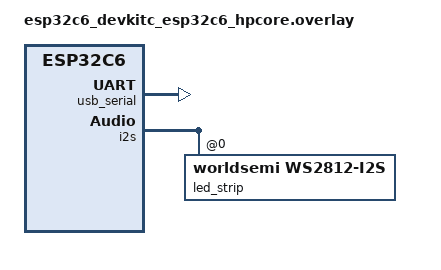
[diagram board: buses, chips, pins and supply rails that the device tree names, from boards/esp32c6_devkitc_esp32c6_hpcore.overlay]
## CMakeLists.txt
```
# SPDX-License-Identifier: Apache-2.0

cmake_minimum_required(VERSION 3.20.0)

list(APPEND EXTRA_ZEPHYR_MODULES ${CMAKE_CURRENT_SOURCE_DIR}/../common)

find_package(Zephyr REQUIRED HINTS $ENV{ZEPHYR_BASE})
project(tier_10_integrated_defense)

test_sysbuild()

# The trust anchor is compiled into the image, the same way the Wi-Fi
# credentials are. ./course build firmware writes course_ca_der.inc from the
# Course certificate authority in .course-secrets/, and passes the directory
# here.
#
# Without it the build falls back to anchor/, which holds an empty anchor. The
# repository then still builds standalone, and the resulting image refuses to
# connect and says why. An image that trusts nothing is the right failure: the
# alternative is an image that trusts anything.
# The directory arrives in the environment rather than as a CMake cache
# variable. Sysbuild keeps an image-scoped -D<image>_VAR in its own cache and
# does not forward an arbitrary one into the image build, so a cache variable
# silently produced an image with no anchor. The environment reaches every
# image's configure step.
if(DEFINED ENV{COURSE_CA_INC_DIR})
	zephyr_include_directories($ENV{COURSE_CA_INC_DIR})
else()
	zephyr_include_directories(anchor)
endif()

# The release manifest verification key arrives the same way, from
# ./course build firmware, which writes release_pubkey.inc from the public half
# of the Learner's Release signing key. It has its own variable because it is
# its own decision: the certificate authority says which service to talk to,
# and this key says whose release metadata to believe. Nothing about one
# implies the other.
#
# Without it the build falls back to anchor/, which holds no key, and the
# resulting image verifies no manifest and says so at boot and at every
# refusal. That is the same honest failure the empty trust anchor produces.
if(DEFINED ENV{COURSE_RELEASE_KEY_INC_DIR})
	zephyr_include_directories($ENV{COURSE_RELEASE_KEY_INC_DIR})
else()
	zephyr_include_directories(anchor)
endif()

target_sources(app PRIVATE
	src/health_gate.c
	src/identity.c
	src/main.c
	src/opaque_tls.c
	src/ota_client.c
	src/recovery_state.c
	src/release_policy.c
	src/renewal.c
	src/time_floor.c
)

target_sources_ifdef(CONFIG_COURSE_SUPPORT_LISTENER app PRIVATE
	src/support_listener.c
)

target_sources_ifdef(CONFIG_COURSE_CLAIM app PRIVATE
	src/claim.c
)

target_sources_ifdef(CONFIG_COURSE_PROVISIONING_SHELL app PRIVATE
	src/provisioning_shell.c
)
```

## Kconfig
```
# Configuration Tier 5 adds on top of the shared options in firmware/common.
#
# The first block is inherited from Tier 2, which taught the device to verify
# the service it talks to. Tier 4 keeps every word of it: the manifest is
# fetched over that same verified connection, and a signed manifest does not
# make an unverified connection acceptable.

menu "Tier 2 authenticated service"

config COURSE_OTA_SERVICE_NAME
	string "Name the service certificate must carry"
	default "ota.course.example"
	help
	  The device connects to CONFIG_COURSE_OTA_HOST, a literal address, and
	  then requires the certificate presented there to carry this name.

	  The name is never resolved. There is no DNS resolver in this image.
	  It is the value the TLS layer compares the certificate against, which
	  is why a wrong name is refused even though the address was right.

config COURSE_OTA_TLS_PORT
	int "OTA service TLS port"
	default 8443
	help
	  Tier 2 moves release records, firmware bytes, and status events to
	  this port. Health and the Course environment marker stay on the plain
	  HTTP port, because a safety check must not depend on the control it
	  is used to test.

config COURSE_TRUST_ANCHOR_FINGERPRINT
	string "Fingerprint of the trust anchor compiled into this image"
	default "unknown"
	help
	  Printed at boot so a stale trust anchor diagnoses itself instead of
	  looking like a broken network. ./course build firmware writes this
	  value, and ./course service certificate prints the same one.

	  The device does not compute it. Computing a digest on the board to
	  describe material the board already holds would prove nothing that the
	  build cannot state.

endmenu

menu "Tier 4 release policy"

config COURSE_SECURITY_COUNTER
	int "Security counter of the running image"
	default 1
	help
	  The anti-rollback counter this image was signed with. The same value
	  goes into the signed MCUboot image TLV and into the signed Release
	  manifest, and ./course build firmware writes it from the one constant
	  in internal/courseapp/tier04.go so the two cannot disagree.

	  The application refuses a manifest whose counter is lower than this
	  one. Equal is allowed; lower never is. That check saves a wasted
	  download and is not the boundary: the bootloader is what actually
	  stops a downgrade, by comparing the candidate's counter against the
	  counter in the image already in the primary slot.

	  It is deliberately not derived from the human-readable version.
	  "Human-readable versions override the security counter" is the
	  failure this tier is about.

config COURSE_HARDWARE_REVISION
	int "Product hardware revision this build asserts"
	default 1
	help
	  The product hardware revision a release is targeted at, compared
	  against the manifest's signed hardware_revision_min..max range.

	  It is asserted, not read. The chip reports its silicon stepping from
	  eFuse and the boot banner prints that beside this value, but nothing
	  on this part reports which product a board was built into. Product
	  identity is asserted and protected; a value the device reads is not a
	  claim anybody signed.

config COURSE_RELEASE_CHANNEL
	string "Release channel this device follows"
	default "stable"
	help
	  One of stable or candidate. The device refuses a manifest published
	  to any other channel, even a correctly signed one.

	  This is the check that has no attacker behind it. Nobody without the
	  Release signing key can produce a manifest that gets this far, so a
	  channel mismatch means whoever holds the key published something for
	  the wrong devices. The device cannot tell that from a leaked key, and
	  refusing is the same either way.

endmenu

menu "Tier 5 recoverable install"

choice COURSE_TRIAL_BEHAVIOUR
	prompt "How this image behaves during its trial boot"
	default COURSE_TRIAL_HEALTHY
	help
	  Tier 5 published five images from this one source tree, differing only
	  in what happens between the trial boot and the confirmation. Tier 10
	  keeps only the healthy behaviour: it is the integration tier, and the
	  one release that fails its trial here (the candidate) does so because
	  of the teammate's handover change, not a built-in fault arm. A failure
	  the source deliberately switches on would print that it was deliberate,
	  which is exactly what the Learner must not be told while diagnosing.

config COURSE_TRIAL_HEALTHY
	bool "Healthy: pass every check and confirm"
	help
	  The release that works. It passes the four health checks, survives the
	  60 second window, and calls boot_write_img_confirmed().

endchoice

config COURSE_TRIAL_BEHAVIOUR_NAME
	string
	default "healthy" if COURSE_TRIAL_HEALTHY
	help
	  The name this image prints for its own trial behaviour. Not settable:
	  it follows the choice above so the two cannot disagree.

config COURSE_HEALTH_GATE_SECONDS
	int "Length of the local health window"
	default 60
	help
	  Section 6 fixes this at 60 seconds. It is measured from the end of the
	  boot-time checks rather than from boot, so a slow boot cannot eat the
	  window and make the gate's length depend on something it is not
	  measuring.

config COURSE_TRIAL_FAILURE_LIMIT
	int "How many trials of one release before it is refused"
	default 3
	help
	  Bounds the revert loop. A release that installs cleanly and then fails
	  its trial would otherwise be offered, installed, fail and revert
	  forever, because nothing about it is invalid.

	  The count is incremented when a trial begins, never when one fails. A
	  crashing image never reaches code that could record a failure, and a
	  hung one is reset from interrupt context where an NVS write is not
	  safe, so a count kept on failure would miss exactly the two failures
	  that most need counting.

	  This is persistent state about a release, and it is not the
	  application-managed accepted-image database section 6 forbids. That
	  prohibition exists so a failed trial can always revert to the
	  previously confirmed image. This count never blocks a revert; it only
	  stops the device re-attempting a release it has already proven bad.

config COURSE_SOURCE_REVISION
	string "Source revision this image was built from"
	default "unknown"
	help
	  The git hash of the tree this image was built from, with -dirty
	  appended when the tree was dirty, exactly as git describe --dirty
	  reports it.

	  It also travels in a protected MCUboot TLV at tag 0x00A0, so it is
	  covered by the image signature and cannot be rewritten without
	  invalidating the image. This Kconfig value is what the build put in
	  that TLV.

	  It identifies the build and not the release. A Learner's own build
	  carries their hash and will usually be dirty, and will not match a
	  published one. The course claims no reproducible builds, and this
	  value is not evidence of any.

	  What it answers is "what am I running" after a revert, when the
	  Release manifest that described the image was consumed long ago and
	  the device no longer holds it.

endmenu

menu "Tier 6 factory identity, carried into Tier 7"

config COURSE_IDENTITY_FACTORY
	bool "Factory: a key generated on this device"
	default y
	help
	  Tier 7 builds one image, and the factory identity is not a choice in
	  it.

	  Tier 6 published two images from one source tree, because where the
	  device's identity comes from was that tier's whole subject. Tier 7's
	  subject is what an identity authorizes, and it takes the per-device
	  Factory identity as given. The comparison is Tier 6's and Tier 6
	  still publishes both halves of it.

	  Be precise about why the shared image is not carried forward. It is
	  not that it cannot prove anything. Its certificate is a real Factory
	  certificate signed by the manufacturer device CA, so it proves
	  possession of its key exactly as well as a per-device one does, and
	  it would pass the identity-factory check at the claim endpoint. What
	  it cannot prove is which device it is. Every shared image carries the
	  same subject, and a claim binds an owner to a device rather than to a
	  fleet.

	  Follow that through and the shared image fails in a way worth
	  knowing. Ownership is first come, so the first shared board to
	  complete a claim takes the identifier, and every other board flashed
	  from the same image is refused at device-unowned from then on. No
	  attacker appears anywhere in that story. That is the strongest
	  argument for per-device identity, and it is why this symbol is not a
	  choice.

	  The symbol keeps its prompt and its name so the generated Tier 6
	  fragment still configures this tree, and so the two tiers are
	  readable side by side. Turning it off builds an image with no
	  identity subsystem at all, which is not a Tier 7 variant, it is a
	  broken configuration.

config COURSE_IDENTITY_NAME
	string
	default "factory"
	help
	  The name this image prints for its own identity model.

config COURSE_PROVISIONING_SHELL
	bool "Offer the provisioning shell while unprovisioned"
	default y
	depends on COURSE_IDENTITY_FACTORY
	help
	  The enrollment interface. It is a Zephyr shell rather than a private
	  protocol on purpose: a hidden framing is obscurity and not security,
	  and both are exposed on exactly the same terms once the gating below
	  is in place.

	  What makes it defensible is that it is reduced and closed. SHELL_MINIMAL
	  turns off the kernel module, the built-in commands, history, tab
	  completion and VT100 handling, all of which are gated on the same
	  condition, so an attacker finding this shell finds two provisioning
	  commands and nothing else. SHELL_AUTOSTART is off, so the application
	  decides when it runs, and it stops it the moment enrollment succeeds.

	  A Learner can check both halves: type a command after enrolling and
	  watch nothing happen.

config COURSE_PROVISIONING_BUTTON_REOPENS
	bool "Let the BOOT button reopen provisioning on an enrolled device"
	default y
	depends on COURSE_PROVISIONING_SHELL
	help
	  Without this the interface closes permanently on enrollment, and there
	  is then no way to send the erase command that remanufacturing needs.
	  Reflashing does not help: Secure Storage lives in the storage
	  partition and survives a slot 0 flash, exactly the way MCUboot's
	  trailer does.

	  The cost is a weakness worth naming rather than hiding: anyone with
	  physical access and this button can put the device back into
	  provisioning mode. That is a deliberate trade for recoverability, and
	  Advanced Tier A is where the debug and download paths around it are
	  closed.

config COURSE_PROVISIONING_BUTTON_HOLD_SECONDS
	int "Seconds the BOOT button must be held to reopen provisioning"
	default 10
	range 2 60
	depends on COURSE_PROVISIONING_BUTTON_REOPENS
	help
	  The button is read while the application runs, not at reset.

	  Reading it at reset cannot work on this part: sw0 is GPIO9, the
	  ESP32-C6 strapping pin, so holding it through the reset edge straps
	  the chip into the ROM download loader and the application never runs
	  at all. The only window was therefore after the reset and before the
	  gate, which is a fraction of a second, and hitting it reliably was not
	  something a Learner should have to practise.

	  So the button is armed with an interrupt instead, and a deliberate
	  long press reopens the interface in place, with no reset and no
	  re-enumeration of the USB device. A sustained hold is also harder to
	  trigger by accident than a press during boot.

endmenu

menu "Tier 7 operational identity"

config COURSE_CLAIM
	bool "Build the Claim window"
	default y
	depends on COURSE_IDENTITY_FACTORY && COURSE_PROVISIONING_BUTTON_REOPENS
	help
	  The timed half of Tier 7: a nonce, a ten-minute window, a bounded
	  submit and a poll, in src/claim.c.

	  It depends on the button rather than merely on the factory identity,
	  and that dependency is the decision #135 made rather than an accident
	  of wiring. The Claim window is opened by a documented physical action
	  and by nothing else. An image with the button disabled has no way to
	  open one, and building the window into it would leave a claim path
	  with no way to authorize it.

config COURSE_CLAIM_WINDOW_SECONDS
	int "Seconds a Claim window stays open on this device"
	default 600
	range 60 3600
	depends on COURSE_CLAIM
	help
	  The device times this itself with a k_timer and closes its own window
	  by destroying the nonce and the pending Operational key.

	  This is not the service's ten minutes and it is not meant to be. The
	  service starts counting when the request reaches it, some seconds
	  later, and the service alone decides that a claim has expired. The
	  device's timer only ever closes the device's own window: it never
	  reports a time and it is never an authorization input, which is what
	  keeps device time evidence rather than permission.

	  CONFIG_MBEDTLS_HAVE_TIME_DATE=n costs this board wall-clock judgement,
	  not duration judgement. It cannot tell you whether a certificate has
	  expired. It can perfectly well count ten minutes.

config COURSE_CLAIM_SUBMIT_ATTEMPTS
	int "Attempts at submitting the device half before the window closes"
	default 4
	range 1 10
	depends on COURSE_CLAIM
	help
	  Submitting is a thing that either lands or does not, so it is bounded.
	  Four attempts on the cadence 0, 2, 4 and 8 seconds: the delay belongs
	  to the attempt it precedes, so the first goes out at once and the three
	  after it wait two, four and eight seconds. After the fourth failure the
	  device closes its own window and says the button must be pressed again.

	  The two halves of the claim share that one cadence. The *operator*
	  half's budget lives at the service, it is four attempts on the same 0,
	  2, 4 and 8 seconds, and the sequence is what fixes the count in both
	  places, so #134's five is superseded. A Learner reads one cadence in
	  two files rather than two cadences that happen to both be bounded.

	  This budget is still not shared with the retrieval poll below, because
	  the two bound different things: this bounds a submission, and the poll
	  is the waiting state.

config COURSE_CLAIM_POLL_SECONDS
	int "Seconds between retrieval polls while a window is open"
	default 5
	range 1 60
	depends on COURSE_CLAIM
	help
	  How the device learns its certificate was issued. A fresh connection
	  each time, closed after, bounded only by the window timer.

	  A fresh connection rather than one held open for ten minutes: it keeps
	  #158's one-connection-at-a-time decision intact with no connection
	  lifetime state to carry, and it makes the poll the same run_request()
	  as every other Tier 7 exchange rather than the tier's only long-lived
	  socket with its own idle-timeout handling.

endmenu

menu "Tier 8 credential lifecycle"

config COURSE_TIME_FLOOR_SEED
	string "Build time this image seeds its Time floor with"
	default "2026-09-01T00:00:00Z"
	help
	  RFC 3339 in UTC, exactly as ./course build firmware writes it: the
	  moment the image was built. It is compiled into the image and so
	  covered by the image signature, which is what makes it evidence.

	  The Time floor starts here and rises to the created_at of every
	  Release manifest whose signature verifies. It never falls, except to
	  someone who can rewrite the flash, and it judges only this device's
	  own Operational certificate. It is not a clock: see time_floor.h.

	  The default is only for a standalone build of this tree, and it is
	  deliberately not in the future: a floor ahead of real time would
	  refuse every certificate issued before it and could never come back.

config COURSE_RENEWAL_ATTEMPTS
	int "Renewal attempts on one poll that says renew"
	default 4
	range 1 10
	help
	  #148's cadence, the claim's: 0, 2, 4 and 8 seconds, the delay
	  belonging to the attempt it precedes. After the last one the device
	  keeps its current identity and waits for a later poll that still
	  says renew. The poll interval is the outer backoff, and there is no
	  third cadence (#212).

endmenu

menu "Support listener and vulnerability backport"

config COURSE_SUPPORT_LISTENER
	bool "Answer fleet inventory and reboot requests on the local network"
	select NET_UDP
	help
	  The planted flaw first introduced in Tier 9 (#269), T9-W-34. It is a UDP
	  listener that answers an inventory query with the device id, release and
	  security counter, and accepts a reboot request. Neither needs any
	  authentication, and anything on the same network can send both.

	  Tier 10's corrected tree leaves it compiled out, exactly as Tier 9's
	  remediation release did. The teammate's handover patch (T10-W-38) turns
	  it back on for the candidate build and, worse, starts it before the
	  health gate, so it is live during a failed trial. That regression is the
	  subject of this tier, not a control it adds.

config COURSE_SUPPORT_LISTENER_PORT
	int "UDP port the support listener binds"
	default 7700
	depends on COURSE_SUPPORT_LISTENER

config COURSE_TF_PSA_CRYPTO_BACKPORT
	bool "This build carries the TF-PSA-Crypto fix for CVE-2026-50583"
	help
	  Set for both Tier 10 variants, which each carry Tier 9's fix. ./course
	  build firmware applies the West patch to the tf-psa-crypto module at the
	  same moment (#275, #278, #290). The patch changes the module, not this
	  application, so this symbol exists only so the image can say at boot that
	  it carries the fix. It proves nothing by itself: the SBOM and the build
	  manifest are the evidence.

endmenu

source "Kconfig.zephyr"

config COURSE_SIGNING_KEY_FINGERPRINT
	string "Fingerprint of the image verification key this image was built beside"
	default "unknown"
	help
	  Printed at boot so a Learner can see which key the build trusted, and
	  so a key regenerated after flashing diagnoses itself instead of looking
	  like a broken image.

	  Read the wording in main.c before changing this. The application cannot
	  see what the bootloader actually holds. This value comes from the same
	  build that produced the bootloader, so it is a claim about the build and
	  not an observation of the device. Verifying the bootloader itself is
	  Advanced Tier A's subject.

	  From Tier 4 the same fingerprint also describes the release manifest
	  verification key compiled into the application, because section 7 fixes
	  that one key signs both. Unlike the bootloader's copy, that one this
	  application does hold, and release_policy.c reports when it is absent.
```

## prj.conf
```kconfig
CONFIG_PRINTK=y
CONFIG_ESPTOOLPY_FLASHSIZE_4MB=y
CONFIG_MAIN_STACK_SIZE=8192
CONFIG_REBOOT=y

# Wi-Fi station and IPv4. Tier 2 speaks HTTPS to one literal address and checks
# the certificate against a name, so it still needs no name resolution. The
# name is compared, never looked up, and there is no resolver in this image.
#
# Tier 4 fetches two more objects over that same connection, the Release
# manifest and its detached signature. Verifying the manifest does not make an
# unverified connection acceptable, so nothing here is relaxed.
CONFIG_NETWORKING=y
CONFIG_WIFI=y
CONFIG_NET_IPV4=y
CONFIG_NET_IPV6=n
CONFIG_NET_DHCPV4=y
CONFIG_NET_TCP=y
CONFIG_NET_SOCKETS=y
CONFIG_NET_MGMT=y
CONFIG_NET_MGMT_EVENT=y
CONFIG_NET_MGMT_EVENT_INFO=y
CONFIG_NET_MGMT_EVENT_STACK_SIZE=4096
CONFIG_ESP32_WIFI_STA_AUTO_DHCPV4=y

CONFIG_NET_PKT_RX_COUNT=16
CONFIG_NET_PKT_TX_COUNT=16
CONFIG_NET_BUF_RX_COUNT=32
CONFIG_NET_BUF_TX_COUNT=32
CONFIG_NET_MAX_CONTEXTS=8

CONFIG_HTTP_CLIENT=y
CONFIG_JSON_LIBRARY=y

# TLS for the update and status connection.
#
# CONFIG_MBEDTLS is already on in Tier 0, because the Wi-Fi driver needs it.
# Tier 2 adds the socket layer, the credential store, and one ciphersuite.
# From Tier 7 these two are kept for what they select rather than for what they
# do. Nothing in this image calls setsockopt(SOL_TLS, ...) or
# tls_credential_add() any more: #138 established that Zephyr's socket TLS
# layer cannot carry a PSA key identifier as a client private key, and src/
# opaque_tls.c replaces it. But NET_SOCKETS_SOCKOPT_TLS is what "select
# PSA_CRYPTO" hangs off, and the mbedTLS configuration below is reached through
# it. Turning them off is a larger change than it looks and buys a few hundred
# bytes.
CONFIG_NET_SOCKETS_SOCKOPT_TLS=y
CONFIG_TLS_CREDENTIALS=y
CONFIG_MBEDTLS_CIPHERSUITE_TLS_ECDHE_ECDSA_WITH_AES_128_GCM_SHA256=y
CONFIG_MBEDTLS_ENABLE_HEAP=y
CONFIG_MBEDTLS_HEAP_SIZE=49152
# A TLS record can be 16 KiB, and the peer decides how big it makes one.
#
# This was 2048 while Tier 3 was being built, because every response Tier 2
# had ever fetched over TLS was a small JSON record that fitted. Tier 3 is the
# first tier to download a firmware image over the verified connection, and the
# Go service sends that in full sized records. The client cannot hold one,
# mbedTLS treats it as fatal, and the socket layer returns -ECONNABORTED before
# a single byte reaches the flash writer.
#
# The symptom is misleading: "ota.request failed err=-113" after a handshake
# the same log line says succeeded. Nothing in the failure mentions buffers.
#
# Tier 2 now sets 16384 for the same reason. See issue #62.
CONFIG_MBEDTLS_SSL_MAX_CONTENT_LEN=16384
CONFIG_NET_SOCKETS_TLS_MAX_CONTEXTS=2

# The trust anchor is compiled in as DER, so the PEM parser is not needed.
#
# Tier 4 adds a second compiled-in key, the release manifest verification key,
# and it stays off for that too. The build strips it to a bare 65-byte EC point
# that PSA imports directly. Measured on issue #65: turning PEM parsing back on
# costs 1696 bytes of .text and 228 of .flash.rodata to do at run time what the
# build does for free, and puts a text parser on the path to a trust decision.
CONFIG_MBEDTLS_PEM_PARSE_C=n

# Verifying the Release manifest needs no new Kconfig symbol at all.
#
# psa_hash_compute, mbedtls_ecdsa_der_to_raw, psa_import_key and
# psa_verify_hash are already linked into the untouched Tier 3 image, pulled in
# by two lines nobody set for this purpose: the ciphersuite above selects
# PSA_WANT_ALG_ECDSA, PSA_WANT_ALG_SHA_256 and the ECC key types and implies
# PSA_WANT_ECC_SECP_R1_256, and CONFIG_NET_SOCKETS_SOCKOPT_TLS does
# "select PSA_CRYPTO". psa_crypto_init() is already called from Zephyr's own
# SYS_INIT.
#
# The two lines below are assertions, not requests. They are already y, they
# change no bytes, and they are here so that a future change to the ciphersuite
# fails the build rather than quietly removing a verifier. release_policy.c
# carries the same statement as compile-time #error probes, because a symbol
# being set is not the same as a driver being present.
#
# Do not reach for CONFIG_MBEDTLS_ECDSA_C, CONFIG_MBEDTLS_ECP_C or
# CONFIG_MBEDTLS_ECP_DP_SECP256R1_ENABLED. This tree is Mbed TLS 4.1.0 with the
# separate tf-psa-crypto module and those symbols do not exist here; curves and
# algorithms are selected only through PSA_WANT_*.
CONFIG_PSA_WANT_ALG_ECDSA=y
CONFIG_PSA_WANT_ECC_SECP_R1_256=y

# Certificate validity dates are deliberately not checked.
#
# This board has no real-time clock. With CONFIG_MBEDTLS_HAVE_TIME_DATE=y and
# no time source the clock reads 1970, every certificate is "not yet valid",
# and every handshake fails forever. The option is orthogonal to chain and name
# checking, so leaving it off costs neither of those.
#
# The consequence is real and belongs in the Weakness ledger: this device would
# accept an expired certificate. Tier 8 is where credential lifetime becomes
# the subject.
CONFIG_MBEDTLS_HAVE_TIME_DATE=n

# Reading the verification flags after a refusal, so the device can say which
# check failed instead of only that something did.
CONFIG_MBEDTLS_X509_CRT_PARSE_C=y

# Writing the downloaded image into the secondary slot and asking MCUboot to
# swap it in. Tier 0 deliberately added no check here at all; Tier 4 decides
# whether to write before the transfer starts, and whether to request the swap
# after the bytes have been hashed.
CONFIG_FLASH=y
CONFIG_FLASH_MAP=y
CONFIG_STREAM_FLASH=y
CONFIG_IMG_MANAGER=y
CONFIG_IMG_ERASE_PROGRESSIVELY=y
CONFIG_MCUBOOT_IMG_MANAGER=y

# The course network may publish the same name on 2.4 GHz and 5 GHz. Scanning
# every channel makes the board pick the 2.4 GHz radio it can actually use.
CONFIG_ESP32_WIFI_STA_SCAN_ALL=y
CONFIG_ESP32_WIFI_STA_RECONNECT=y

# Tier 5: the storage partition's first use in this course.
#
# The 192 KiB storage partition at 0x3b0000 has been in the pinned flash map
# since Tier 0 and no tier has ever written to it. Tier 5 needs somewhere for
# the download progress record and the trial failure count to survive a power
# cut, and this is what that partition is for.
#
# NVS directly rather than the settings subsystem. Settings is built on NVS
# here, so it is a layer of ergonomics over a record with four fields, and in
# the one tier whose subject is what survives a power cut a Learner is better
# served by seeing the write that matters.
CONFIG_NVS=y

# Tier 5: the watchdog that resets a trial image which hangs before it can
# report failure.
#
# Nothing in firmware/ has ever set this, and the esp32 driver actively
# disables the hardware during its own init, so the watchdog is off until an
# application turns it on and calls wdt_setup(). An image that hangs on a board
# with no watchdog running looks exactly like a control working.
#
# Read the COURSE_TRIAL_HANG help text before assuming this catches every hang.
# It does not, and what it misses is in the Tier 5 ledger.
CONFIG_WATCHDOG=y

# Reading back the image from the secondary slot to hash it.
#
# Tier 4 hashed the bytes as they streamed past, which a resumable download
# cannot do: after a power cut the hash state is gone, and persisting SHA-256
# midstate would be a great deal of unpleasantness for no gain. Tier 5 hashes
# the slot once the transfer completes instead.
#
# That is strictly the better check. Tier 4's comment says the digest protects
# the upgrade request, and hashing the slot makes that true of what is actually
# in the flash rather than of what the device believes it wrote.
CONFIG_FLASH_PAGE_LAYOUT=y

# Tier 6: a device identity key generated on the board.
#
# PSA_WANT_ALG_ECDSA and PSA_WANT_ECC_SECP_R1_256 are already on above, from
# Tier 4's manifest verification. Generating a key rather than only verifying
# with one needs the keypair types as well.
CONFIG_PSA_WANT_KEY_TYPE_ECC_KEY_PAIR_GENERATE=y
CONFIG_PSA_WANT_KEY_TYPE_ECC_KEY_PAIR_EXPORT=y
CONFIG_PSA_WANT_ALG_SHA_256=y

# PSA_WANT_KEY_TYPE_ECC_PUBLIC_KEY is not optional and it fails silently.
#
# MBEDTLS_PK_MAX_PUBKEY_RAW_LEN is defined as 0 without it (pk.h:91) and that
# constant sizes a buffer in every PK context, so the failure is a zero length
# public key rather than a build error. It is currently on in some builds only
# as a side effect of the Wi-Fi driver's WPA3 option, which is not something to
# depend on. Measured on issue #108.
CONFIG_PSA_WANT_KEY_TYPE_ECC_PUBLIC_KEY=y

# Writing a certification request. MBEDTLS_X509_CSR_WRITE_C selects nothing at
# all, and the CSR writer calls mbedtls_pk_write_pubkey_der(), which is
# compiled out without MBEDTLS_PK_WRITE_C. Both are named here rather than one
# being assumed to imply the other.
#
# MBEDTLS_PEM_WRITE_C is deliberately absent. The request goes over the wire as
# DER. Turning PEM writing on would partly reverse the size decision Tier 5
# made and explained when it set CONFIG_MBEDTLS_PEM_PARSE_C=n.
CONFIG_MBEDTLS_PK_WRITE_C=y
CONFIG_MBEDTLS_X509_CSR_WRITE_C=y
CONFIG_MBEDTLS_X509_USE_C=y

# Storing the private key, in the exact configuration section 8 fixes.
#
# Read the limitation with it. The AEAD key is SHA-256 over a device identifier
# and the entry uid, and on this part that identifier is six bytes of the
# factory MAC: a value the device broadcasts in every Wi-Fi frame and which
# esptool read-mac prints over the same cable used to dump the flash. This
# encrypts the key at rest against casual inspection and detects unauthenticated
# changes. It is not a protected root secret, it does not prevent record replay,
# and it does not protect the key from privileged firmware, a debugger, or a
# capable flash attacker.
#
# Zephyr says so itself at boot, and the course leaves that warning switched on:
#   WARNING: Using a potentially insecure PSA ITS encryption key provider.
CONFIG_SECURE_STORAGE=y
CONFIG_SECURE_STORAGE_ITS_TRANSFORM_IMPLEMENTATION_AEAD=y
CONFIG_SECURE_STORAGE_ITS_TRANSFORM_AEAD_SCHEME_AES_GCM=y
CONFIG_SECURE_STORAGE_ITS_TRANSFORM_AEAD_KEY_PROVIDER_DEVICE_ID_HASH=y
CONFIG_SECURE_STORAGE_ITS_STORE_IMPLEMENTATION_SETTINGS=y

# The device identifier the key provider hashes comes from hwinfo.
CONFIG_HWINFO=y

# Settings, which the ITS store writes through, and which brings its own NVS
# instance on the storage partition.
#
# Tier 5 mounted its own nvs_fs at the first byte of that same partition and
# explained at length why it chose NVS over settings. Both land on the same
# bytes and nothing detects it: nvs_mount() checks write block size, sector
# size and a count of at least two, and nothing else, so both mounts return 0
# and the damage does not wait for a write.
#
# Tier 6 keeps Tier 5's raw records and its reasoning, and stops mounting a
# second instance. recovery_state.c now writes through the instance settings
# already owns, reached with settings_storage_get(). The entry id spaces do not
# overlap: settings uses 0x8000 and above, Tier 5 uses 1, 2 and 3. Measured on
# issue #109, decided on issue #120.
CONFIG_SETTINGS=y
CONFIG_SETTINGS_NVS=y

# The provisioning interface.
#
# SHELL_MINIMAL is the load-bearing line. Without it KERNEL_SHELL is default y
# and implies INIT_STACKS, THREAD_MONITOR, THREAD_NAME and THREAD_STACK_INFO,
# so a plain CONFIG_SHELL=y would hand anyone with the cable thread
# introspection and a reboot command. Every one of those, and the built-in
# commands, history, tab completion and VT100 handling, is gated on the same
# !SHELL_MINIMAL condition, so one symbol turns the lot off and anything
# upstream adds the same way stays off too.
#
# SHELL_AUTOSTART is off so the application chooses when the shell runs.
# shell_init() still runs at boot from the backend; AUTOSTART only decides
# whether it calls shell_start() for you (shell.c:1369).
CONFIG_SHELL=y
CONFIG_SHELL_MINIMAL=y
CONFIG_SHELL_AUTOSTART=n
CONFIG_SHELL_BACKEND_SERIAL=y

# The provisioning shell's own thread, and the buffers around it.
#
# Every one of these three was found on the board, and each produced a failure
# that looked like something else.
#
# SHELL_STACK_SIZE defaults to 2048. Enrollment runs the entire certification
# request on this thread: loading the persistent PSA key out of Secure Storage
# decrypts an AES-GCM record through settings and NVS, and the CSR writer then
# encodes and signs. That overran 2 KiB and the symptom was an illegal
# instruction at an address in SRAM with a call trace pointing into gcm_mask,
# which reads like a fault inside the crypto library rather than like a stack
# that ran out. It is neither: it is a return address overwritten by the frame
# below it.
CONFIG_SHELL_STACK_SIZE=8192

# A stack that runs out should say so instead of jumping to whatever the data
# happened to be. The sentinel is checked on every context switch and turns the
# failure above into a named panic. It is here because the failure it names
# cost a debugging session, and because an unprovisioned board in front of a
# Learner is exactly where this path runs.
CONFIG_STACK_SENTINEL=y

# The station sends the issued certificate over this console. The command
# buffer defaults to 128 bytes, which is shorter than the certificate.
CONFIG_SHELL_CMD_BUFF_SIZE=256

# The serial backend's receive ring defaults to 64 bytes. The shell thread does
# not drain it fast enough when a host writes a long line in one go, and the
# first attempt at enrollment lost characters out of the middle of a 64
# character credential and acted on the corrupted text. Nothing reported the
# loss: a dropped character is not an error, it is simply a different command.
CONFIG_SHELL_BACKEND_SERIAL_RX_RING_BUFFER_SIZE=512

# --- Tier 7 ---------------------------------------------------------------
#
# The claim carries a certification request out and a certificate back, both
# inside a JSON body, so both travel base64. Go's encoding/json produces and
# consumes exactly this for a []byte without anybody writing an encoder.
CONFIG_BASE64=y

# psa_copy_key() moves the pending Operational key into its persistent slot.
#
# It is declared in tf-psa-crypto's psa/crypto.h and defined in its core, not
# behind a PSA_WANT_* symbol, so nothing here turns it on. This comment is here
# because #140 named it as the first thing Tier 7 had to check and the answer
# belongs beside the code rather than only in a ticket.

# The Claim window is opened from the system workqueue.
#
# The button's hold timer hands the work off there — shell_start() has no
# business running in an interrupt and neither does key generation — and that
# handler now also generates a P-256 key and writes a certification request.
# The default 1024 byte workqueue stack does not cover it. #158 measured this
# thread at 608 of 1024 before Tier 7 gave it anything to do.
#
# The key is volatile, so unlike Tier 6's enrollment path nothing here decrypts
# a Secure Storage record; the request writer is the expensive part. 4096 is
# half of what Tier 6 had to give the shell thread for the heavier job.
CONFIG_SYSTEM_WORKQUEUE_STACK_SIZE=4096

# Deliberately absent: CONFIG_INIT_STACKS, CONFIG_THREAD_MONITOR,
# CONFIG_THREAD_NAME, CONFIG_THREAD_STACK_INFO and the thread analyzer.
#
# The #158 spike turned all of them on to measure main's high water at 3224 of
# 8192. They are measurement instruments and not firmware: Tier 6 turned that
# introspection off deliberately with CONFIG_SHELL_MINIMAL, because it hands
# anyone with the cable a map of every thread. A spike image may carry them and
# a shipped one may not.

# The onboard status beacon. The DevKitC-1 shows the machine state on its
# WS2812 RGB LED as well as on the console; CONFIG_COURSE_BEACON_LED in
# firmware/common turns that off again for a board that has no such LED.
CONFIG_LED_STRIP=y

# Tier 10 carries Tier 9's remediation behaviour as its committed, corrected
# tree: the TF-PSA-Crypto backport for CVE-2026-50583 is applied by west patch
# at build time for both Tier 10 variants, so this symbol is set here rather
# than per variant. It proves nothing by itself; the SBOM and build manifest
# are the evidence. See firmware/tier-09-vulnerability-support for the origin.
CONFIG_COURSE_TF_PSA_CRYPTO_BACKPORT=y

# The support listener stays compiled out in the corrected tree, exactly as
# Tier 9's remediation release left it (T9-W-34). The teammate's handover patch
# turns it back on in the candidate build; see handover/teammate-candidate.patch.
# CONFIG_COURSE_SUPPORT_LISTENER is not set
```

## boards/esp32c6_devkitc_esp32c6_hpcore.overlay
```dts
#include "../dts/esp32c6_4m_flash_map.dtsi"
#include <zephyr/dt-bindings/led/led.h>

/*
 * The board's default console is the physical uart0 pins, which need a
 * separate USB-UART adapter to observe. Route the console over the
 * DevKitC's built-in USB-Serial/JTAG peripheral instead, so application
 * logs are visible on the same connector already used to build and flash
 * (see docs/esp32c6-build-baseline.md, "Safe hardware check").
 */
&usb_serial {
	status = "okay";
};

/ {
	chosen {
		zephyr,console = &usb_serial;
		zephyr,shell-uart = &usb_serial;
	};
};

/*
 * The onboard status LED.
 *
 * The ESP32-C6-DevKitC-1 carries one addressable RGB LED, a WS2812 on GPIO8.
 * It is not a plain on/off pin: the colour is clocked in as a serial waveform
 * whose pulse widths carry the bits, so it needs a driver and a peripheral
 * that can produce that waveform. Zephyr 4.4 has no RMT-based WS2812 driver,
 * so the waveform is produced by the I2S peripheral instead, which is the
 * arrangement Espressif themselves use for this board in Zephyr's own
 * samples/drivers/led/led_strip overlay.
 *
 * The board's default I2S pin group drives five pins for real audio. The
 * beacon needs only the serial-data output, so group1 is replaced with the
 * single pin the LED sits on. That leaves GPIO5, GPIO6, GPIO7, and GPIO23 free
 * for anything else, and GPIO6 and GPIO7 are already claimed by i2c0 on this
 * board.
 */
&i2s_default {
	group1 {
		pinmux = <I2S_O_SD_GPIO8>;
	};
};

i2s_led: &i2s {
	status = "okay";

	/* Transmit only. The SoC node offers both directions; the LED is
	 * write-only, and asking for a receive channel would reserve a second
	 * DMA channel that nothing ever reads.
	 */
	dmas = <&dma 3>;
	dma-names = "tx";

	led_strip: ws2812@0 {
		compatible = "worldsemi,ws2812-i2s";

		reg = <0>;
		chain-length = <1>;

		/* WS2812 parts take their bytes green first, then red, then
		 * blue. Getting this order wrong does not fail to build and
		 * does not fail to light; it simply shows the wrong colour,
		 * which is why the order is stated here rather than assumed.
		 */
		color-mapping = <LED_COLOR_ID_GREEN
				 LED_COLOR_ID_RED
				 LED_COLOR_ID_BLUE>;
		reset-delay = <500>;
	};
};

&dma {
	status = "okay";
};

/*
 * firmware/common drives the beacon through this alias rather than through the
 * node label, so the shared code names no board-specific pin or peripheral. A
 * board without this alias builds and runs with the beacon on the console
 * only.
 */
/ {
	aliases {
		led-strip = &led_strip;
	};
};
```

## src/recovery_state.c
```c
#include "recovery_state.h"

#include <errno.h>
#include <string.h>

/* zephyr/fs/nvs.h is deprecated in this Zephyr; the API is unchanged and only
 * the header moved.
 */
#include <zephyr/kvss/nvs.h>
#include <zephyr/kernel.h>
#include <zephyr/settings/settings.h>

/* NVS record identifiers.
 *
 * Small integers rather than strings, because this is NVS rather than the
 * settings subsystem. Settings would give string keys and a tidier API, and it
 * is built on NVS here, so it would be a layer of ergonomics over three
 * records with a handful of fields each. In the one tier whose subject is what
 * survives a power cut, a Learner is better served by seeing the write that
 * matters than by a nicer interface to it.
 */
#define RECOVERY_NVS_DOWNLOAD 1
#define RECOVERY_NVS_TRIAL 2
#define RECOVERY_NVS_FAILURE 3

/* Tier 6 changed where this lives, and nothing about what it does.
 *
 * Tier 5 mounted its own nvs_fs at the first byte of the storage partition and
 * explained at length why it used NVS directly rather than the settings
 * subsystem. That reasoning still holds and the raw writes below are unchanged.
 *
 * What changed is that Tier 6 puts a PSA Secure Storage key in the same
 * partition, and the ITS store writes through settings, whose own NVS instance
 * takes its offset from the partition's first byte and cannot be moved: there
 * is no Kconfig and no devicetree property for it. Both instances therefore
 * landed on the same bytes, and nothing detected it. nvs_mount() checks write
 * block size, sector size against page size, and a count of at least two, and
 * nothing else, so both mounts returned 0. The damage did not even wait for a
 * write, because mounting erases the sector after the write sector.
 *
 * So this file stops mounting a second instance and uses the one settings
 * already owns. The entry identifiers do not overlap: settings uses 0x8000 and
 * above, and the three records below are 1, 2 and 3.
 *
 * This is a bug Tier 6 found in Tier 5, fixed here rather than in the
 * published Tier 5, whose behaviour on its own is correct. It only surfaced
 * now because Tier 5 was the only user of this partition. Measured on issue
 * #109, decided on issue #120.
 */
static struct nvs_fs *course_nvs;
static bool mounted;

int recovery_state_init(void)
{
	void *storage = NULL;
	int err;

	if (mounted) {
		return 0;
	}

	/* settings_subsys_init() is what mounts the instance, and identity.c
	 * calls it before this runs. Calling it again is harmless and makes the
	 * dependency explicit rather than relying on main's ordering.
	 */
	err = settings_subsys_init();
	if (err != 0) {
		printk("recovery.state settings would not start err=%d\n", err);
		return err;
	}
	err = settings_storage_get(&storage);
	if (err != 0 || storage == NULL) {
		printk("recovery.state cannot reach the settings storage err=%d\n", err);
		return err != 0 ? err : -ENODEV;
	}
	course_nvs = (struct nvs_fs *)storage;

	mounted = true;
	printk("recovery.state sharing the settings NVS instance at 0x%lx, %u sectors of %u bytes\n",
	       (unsigned long)course_nvs->offset, course_nvs->sector_count,
	       course_nvs->sector_size);
	printk("recovery.state record ids 1 to 5; settings uses 0x8000 and above\n");
	printk("recovery.state Tier 6 shares this instance with PSA Secure Storage\n");
	return 0;
}

static int read_record(uint16_t id, void *out, size_t len)
{
	ssize_t got;

	if (!mounted) {
		return -ENODEV;
	}
	got = nvs_read(course_nvs, id, out, len);
	if (got == -ENOENT) {
		return -ENOENT;
	}
	if (got < 0) {
		return (int)got;
	}
	if ((size_t)got != len) {
		/* A record of the wrong length is a record written by different
		 * code. Treat it as absent rather than as data: reading a
		 * struct out of bytes that were never that struct is how a
		 * recovery mechanism becomes the thing it was meant to prevent.
		 */
		printk("recovery.state record %u is %d bytes, expected %zu; discarding it\n",
		       id, (int)got, len);
		(void)nvs_delete(course_nvs, id);
		return -ENOENT;
	}
	return 0;
}

static int write_record(uint16_t id, const void *in, size_t len)
{
	ssize_t written;

	if (!mounted) {
		return -ENODEV;
	}
	written = nvs_write(course_nvs, id, in, len);
	if (written < 0) {
		return (int)written;
	}
	return 0;
}

int recovery_record_read(uint16_t id, void *out, size_t len)
{
	return read_record(id, out, len);
}

int recovery_record_write(uint16_t id, const void *in, size_t len)
{
	return write_record(id, in, len);
}

int recovery_record_delete(uint16_t id)
{
	if (!mounted) {
		return -ENODEV;
	}
	return nvs_delete(course_nvs, id);
}

int recovery_download_read(struct download_record *record)
{
	return read_record(RECOVERY_NVS_DOWNLOAD, record, sizeof(*record));
}

int recovery_download_write(const struct download_record *record)
{
	return write_record(RECOVERY_NVS_DOWNLOAD, record, sizeof(*record));
}

int recovery_download_clear(void)
{
	if (!mounted) {
		return -ENODEV;
	}
	return nvs_delete(course_nvs, RECOVERY_NVS_DOWNLOAD);
}

int recovery_trial_read(const char *release_id, uint32_t *attempts)
{
	struct trial_record record;
	int err;

	*attempts = 0U;
	err = read_record(RECOVERY_NVS_TRIAL, &record, sizeof(record));
	if (err == -ENOENT) {
		return 0;
	}
	if (err != 0) {
		return err;
	}
	if (strncmp(record.release_id, release_id, sizeof(record.release_id)) != 0) {
		/* The count belongs to a different release. A release the device
		 * is not being offered any more is not one it needs to remember
		 * having failed.
		 */
		return 0;
	}
	*attempts = record.attempts;
	return 0;
}

int recovery_trial_peek(struct trial_record *record)
{
	return read_record(RECOVERY_NVS_TRIAL, record, sizeof(*record));
}

int recovery_trial_begin(const char *release_id, uint32_t *attempt)
{
	struct trial_record record;
	uint32_t attempts = 0U;
	int err;

	err = recovery_trial_read(release_id, &attempts);
	if (err != 0) {
		return err;
	}

	/* The memset is what clears reported. A new trial has not been reported
	 * because it has not happened yet, and writing the whole record in one
	 * go is what stops the mark from outliving the trial it belongs to.
	 */
	memset(&record, 0, sizeof(record));
	strncpy(record.release_id, release_id, sizeof(record.release_id) - 1);
	record.attempts = attempts + 1U;

	err = write_record(RECOVERY_NVS_TRIAL, &record, sizeof(record));
	if (err != 0) {
		return err;
	}
	*attempt = record.attempts;
	return 0;
}

int recovery_trial_clear(void)
{
	if (!mounted) {
		return -ENODEV;
	}
	return nvs_delete(course_nvs, RECOVERY_NVS_TRIAL);
}

int recovery_trial_mark_reported(void)
{
	struct trial_record record;
	int err;

	err = read_record(RECOVERY_NVS_TRIAL, &record, sizeof(record));
	if (err != 0) {
		return err;
	}
	if (record.reported) {
		return 0;
	}
	record.reported = true;
	return write_record(RECOVERY_NVS_TRIAL, &record, sizeof(record));
}

int recovery_failure_write(const char *release_id, const char *reason)
{
	struct failure_record record;

	memset(&record, 0, sizeof(record));
	strncpy(record.release_id, release_id, sizeof(record.release_id) - 1);
	strncpy(record.reason, reason, sizeof(record.reason) - 1);
	return write_record(RECOVERY_NVS_FAILURE, &record, sizeof(record));
}

int recovery_failure_take(struct failure_record *record)
{
	int err;

	err = read_record(RECOVERY_NVS_FAILURE, record, sizeof(*record));
	if (err != 0) {
		return err;
	}
	(void)nvs_delete(course_nvs, RECOVERY_NVS_FAILURE);
	return 0;
}

void recovery_state_report(void)
{
	struct download_record download;
	struct trial_record trial;

	if (!mounted) {
		printk("recovery.state not mounted, so nothing survives a power cut\n");
		return;
	}

	if (recovery_download_read(&download) == 0) {
		printk("recovery.state download release_id=%s offset=%u size=%u\n",
		       download.release_id, download.offset, download.size);
		printk("recovery.state that many bytes are known to be in the secondary slot.\n");
		printk("recovery.state The record is written after the bytes, so it may lag the\n");
		printk("recovery.state flash and can never describe more than the flash holds.\n");
	} else {
		printk("recovery.state download none in progress\n");
	}

	if (read_record(RECOVERY_NVS_TRIAL, &trial, sizeof(trial)) == 0) {
		printk("recovery.state trial release_id=%s attempts=%u of %d reported=%s\n",
		       trial.release_id, trial.attempts,
		       CONFIG_COURSE_TRIAL_FAILURE_LIMIT,
		       trial.reported ? "yes" : "no");
	} else {
		printk("recovery.state trial no release is being tried\n");
	}
}
```
